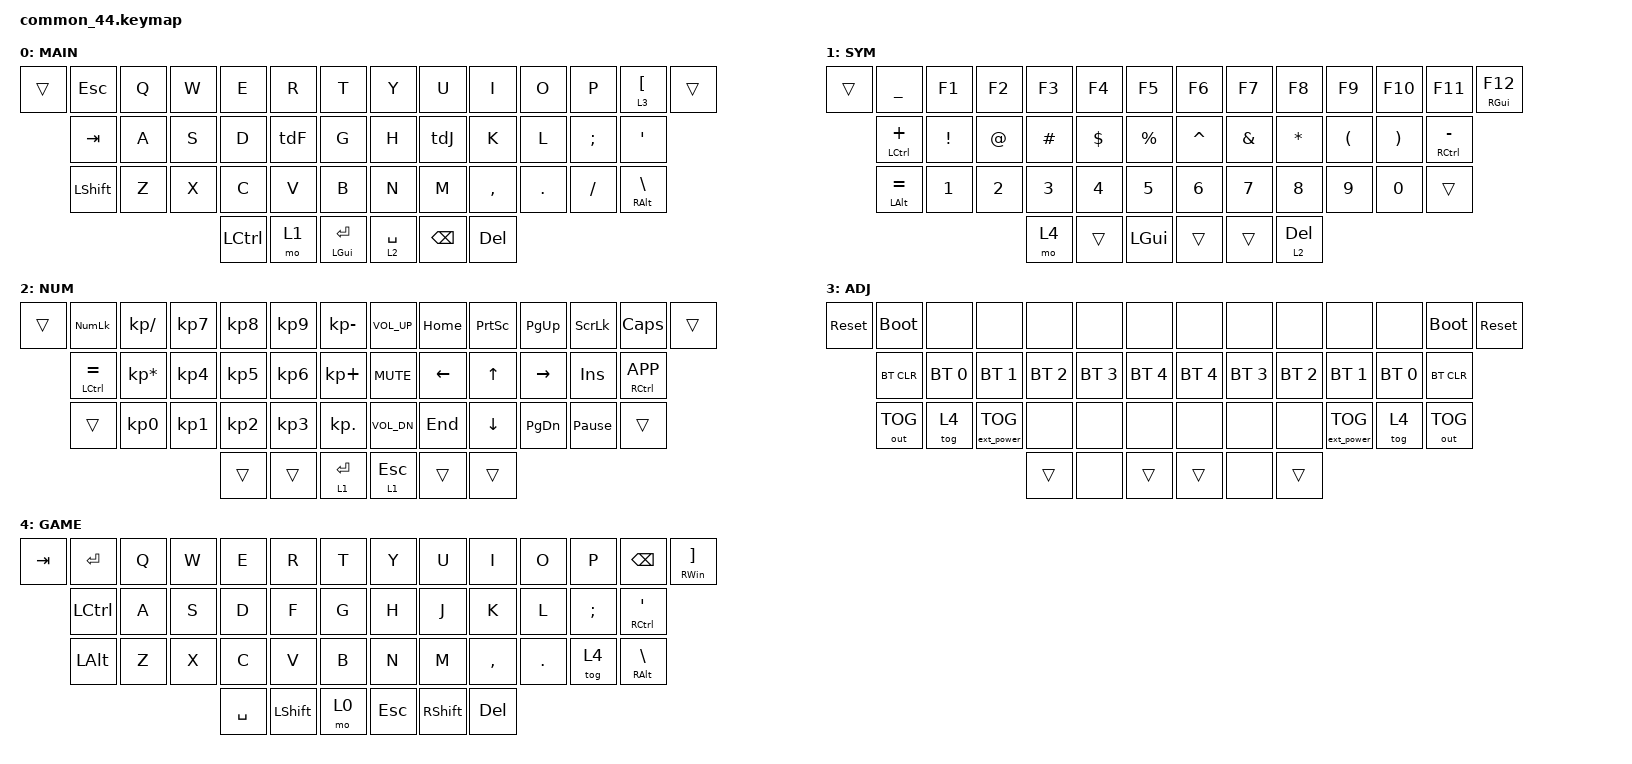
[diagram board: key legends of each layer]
/*
 * Copyright (c) 2020 The ZMK Contributors
 *
 * SPDX-License-Identifier: MIT
 */

#include <behaviors.dtsi>
#include <dt-bindings/zmk/bt.h>
#include <dt-bindings/zmk/ext_power.h>
#include <dt-bindings/zmk/keys.h>
#include <dt-bindings/zmk/outputs.h>

#define DEF 0
#define LWR 1
#define lower_layer LWR
#define RSE 2
#define raise_layer RSE
#define ADJ 3
#define adjust_layer ADJ
#define GME 4
#define GLR 5

&lt { quick-tap-ms = <200>; };

&mt { quick-tap-ms = <200>; };

/ {
    combos {
        compatible = "zmk,combos";

        ParaLeft {
            bindings = <&kp LEFT_PARENTHESIS>;
            key-positions = <6 5>;
        };

        ParaRight {
            bindings = <&kp RIGHT_PARENTHESIS>;
            key-positions = <7 8>;
        };

        BrakLeft {
            bindings = <&kp LEFT_BRACKET>;
            key-positions = <18 19>;
        };

        BrakRight {
            bindings = <&kp RIGHT_BRACKET>;
            key-positions = <20 21>;
        };

        BraceLeft {
            bindings = <&kp LEFT_BRACE>;
            key-positions = <30 31>;
        };

        BraceRight {
            bindings = <&kp RIGHT_BRACE>;
            key-positions = <32 33>;
        };

        DoubleQuote {
            bindings = <&kp DOUBLE_QUOTES>;
            key-positions = <18 17>;
        };

        SingleQuote {
            bindings = <&kp SINGLE_QUOTE>;
            key-positions = <21 22>;
        };

        TildaSign {
            bindings = <&kp TILDE>;
            key-positions = <14 1>;
        };

        GraveSigh {
            bindings = <&kp GRAVE>;
            key-positions = <26 14>;
        };

        MinusSign {
            bindings = <&kp MINUS>;
            key-positions = <4 5>;
        };

        PlusSign {
            bindings = <&kp PLUS>;
            key-positions = <4 3>;
        };

        UnderscoreSign {
            bindings = <&kp UNDERSCORE>;
            key-positions = <8 9>;
        };

        PipeSign {
            bindings = <&kp PIPE>;
            key-positions = <10 9>;
        };

        Mainbootleft {
            bindings = <&bootloader>;
            key-positions = <1 5>;
        };

        Mainbootright {
            bindings = <&bootloader>;
            key-positions = <8 12>;
        };
    };

    macros {
        lang: lang {
            compatible = "zmk,behavior-macro";
            #binding-cells = <0>;
            bindings =
                <&macro_press>,
                <&kp LCTRL>,
                <&macro_tap>,
                <&kp SPACE>,
                <&macro_release>,
                <&kp LCTRL>;

            label = "LANG";
        };
    };

    behaviors {
        LT2Lang: LT2Lang {
            compatible = "zmk,behavior-hold-tap";
            label = "LT2LANG";
            bindings = <&lt>, <&lang>;

            #binding-cells = <2>;
            tapping-term-ms = <150>;
            flavor = "balanced";
            hold-trigger-key-positions = <38>;
        };

        lt2esclang: lt2esclang {
            compatible = "zmk,behavior-tap-dance";
            label = "LT2ESCLANG";
            #binding-cells = <0>;
            bindings = <&lt 2 ESCAPE>, <&lang>;
        };

        tdJ: tap_dance_lang2 {
            compatible = "zmk,behavior-tap-dance";
            #binding-cells = <0>;
            bindings = <&kp J>, <&kp LG(F12)>;

            tapping-term-ms = <100>;
        };

        tdF: tap_dance_lang1 {
            compatible = "zmk,behavior-tap-dance";
            #binding-cells = <0>;
            bindings = <&kp F>, <&kp LG(F11)>;

            tapping-term-ms = <100>;
        };
    };

    keymap {
        compatible = "zmk,keymap";

        default_layer {
            label = "MAIN";

            // -----------------------------------------------------------------------------------------
            // |  GUI |   ~  |  Q  |  W  |  E  |  R  |  T  |   |  Y  |  U   |  I  |  O  |  P  |  [   | GUI/] |
            //        | CTRL |  A  |  S  |  D  |  F  |  G  |   |  H  |  J   |  K  |  L  |  ;  |CTRL/'|
            //        | LALT |  Z  |  X  |  C  |  V  |  B  |   |  N  |  M   |  ,  |  .  |  /  | RALT |
            //                           | RSE | SPC | LWR |   | LWR | BKSP | RSE |

            bindings = <
&trans  &kp ESC     &kp Q  &kp W  &kp E      &kp R  &kp T           &kp Y        &kp U          &kp I      &kp O    &kp P     &lt 3 LEFT_BRACKET  &trans
        &kp TAB     &kp A  &kp S  &kp D      &tdF   &kp G           &kp H        &tdJ           &kp K      &kp L    &kp SEMI  &kp SQT
        &kp LSHIFT  &kp Z  &kp X  &kp C      &kp V  &kp B           &kp N        &kp M          &kp COMMA  &kp DOT  &kp FSLH  &mt RALT BSLH
                                  &kp LCTRL  &mo 1  &mt LGUI RET    &lt 2 SPACE  &kp BACKSPACE  &kp DEL
            >;
        };

        lower_layer {
            label = "SYM";

            // -----------------------------------------------------------------------------------------
            // |     |  _  |  F1 |  F2 |  F3 |  F4 |  F5 |   |  F6 |  F7 |  F8 |  F9 | F10 | F11 | F12 |
            //       |  +  |  !  |  @  |  #  |  $  |  %  |   |  ^  |  &  |  *  |  (  |  )  |  -  |
            //       |  =  |  1  |  2  |  3  |  4  |  5  |   |  6  |  7  |  8  |  9  |  0  |     |
            //                    | GUI |     | SPC |   | ENT |     | ALT |

            bindings = <
&trans  &kp UNDER       &kp F1    &kp F2  &kp F3    &kp F4    &kp F5       &kp F6     &kp F7    &kp F8     &kp F9    &kp F10   &kp F11          &mt RGUI F12
        &mt LCTRL PLUS  &kp EXCL  &kp AT  &kp HASH  &kp DLLR  &kp PRCNT    &kp CARET  &kp AMPS  &kp STAR   &kp LPAR  &kp RPAR  &mt RCTRL MINUS
        &mt LALT EQUAL  &kp N1    &kp N2  &kp N3    &kp N4    &kp N5       &kp N6     &kp N7    &kp N8     &kp N9    &kp N0    &trans
                                          &mo 4     &trans    &kp LGUI     &trans     &trans    &lt 2 DEL
            >;
        };

        raise_layer {
            label = "NUM";

            // -----------------------------------------------------------------------------------------
            // |     | NMLK |  /  |  7  |  8  |  9  |  -  |   | VOLU| HOME| PRSC| PGUP| SCLK| CLCK|     |
            //       | CTRL |  *  |  4  |  5  |  6  |  +  |   | MUT | LEFT|  UP | RGHT| INS | APP |
            //       |      |  0  |  1  |  2  |  3  |  .  |   | VOLD| END | DOWN| PGDN| PAUS|     |
            //                          |     |     | ADJ |   | ADJ |     |     |

            bindings = <
&trans  &kp KP_NUM       &kp KP_SLASH     &kp KP_N7  &kp KP_N8  &kp KP_N9  &kp KP_MINUS    &kp C_VOL_UP  &kp HOME  &kp PSCRN  &kp PG_UP  &kp SLCK         &kp CAPS         &trans
        &mt LCTRL EQUAL  &kp KP_MULTIPLY  &kp KP_N4  &kp KP_N5  &kp KP_N6  &kp KP_PLUS     &kp C_MUTE    &kp LEFT  &kp UP     &kp RIGHT  &kp INS          &mt RCTRL K_APP
        &trans           &kp KP_N0        &kp KP_N1  &kp KP_N2  &kp KP_N3  &kp KP_DOT      &kp C_VOL_DN  &kp END   &kp DOWN   &kp PG_DN  &kp PAUSE_BREAK  &trans
                                                     &trans     &trans     &lt 1 RET       &lt 1 ESC     &trans    &trans
            >;
        };

        adjust_layer {
            label = "ADJ";

            // -----------------------------------------------------------------------------------------
            // | RST | BLDR |     |     |     |     |     |   |     |     |     |     |     | BLDR | RST |
            //       | BTCLR| BT0 | BT1 | BT2 | BT3 | BT4 |   | BT4 | BT3 | BT2 | BT1 | BT0 | BTCLR|
            //       |      |     |     |     |     |     |   |     |     |     |     |     |      |
            //                          |     |     |     |   |     |     |     |

            bindings = <
&sys_reset  &bootloader   &none         &none              &none         &none         &none           &none         &none         &none         &none              &none         &bootloader   &sys_reset
            &bt BT_CLR    &bt BT_SEL 0  &bt BT_SEL 1       &bt BT_SEL 2  &bt BT_SEL 3  &bt BT_SEL 4    &bt BT_SEL 4  &bt BT_SEL 3  &bt BT_SEL 2  &bt BT_SEL 1       &bt BT_SEL 0  &bt BT_CLR
            &out OUT_TOG  &tog 4        &ext_power EP_TOG  &none         &none         &none           &none         &none         &none         &ext_power EP_TOG  &tog 4        &out OUT_TOG
                                                           &trans        &none         &trans          &trans        &none         &trans
            >;
        };

        gaming_layer {
            label = "GAME";

            // -----------------------------------------------------------------------------------------
            // |  GUI |   ~  |  Q  |  W  |  E  |  R  |  T  |   |  Y  |  U   |  I  |  O  |  P  |  [   | GUI/] |
            //        | CTRL |  A  |  S  |  D  |  F  |  G  |   |  H  |  J   |  K  |  L  |  ;  |CTRL/'|
            //        | LALT |  Z  |  X  |  C  |  V  |  B  |   |  N  |  M   |  ,  |  .  |  /  | RALT |
            //                           | RSE | SPC | LWR |   | LWR | BKSP | RSE |

            bindings = <
&kp TAB  &kp RET    &kp Q  &kp W  &kp E      &kp R      &kp T    &kp Y    &kp U      &kp I      &kp O    &kp P     &kp BSPC       &mt RWIN RBKT
         &kp LCTRL  &kp A  &kp S  &kp D      &kp F      &kp G    &kp H    &kp J      &kp K      &kp L    &kp SEMI  &mt RCTRL SQT
         &kp LALT   &kp Z  &kp X  &kp C      &kp V      &kp B    &kp N    &kp M      &kp COMMA  &kp DOT  &tog 4    &mt RALT BSLH
                                  &kp SPACE  &kp LSHFT  &mo 0    &kp ESC  &kp RSHFT  &kp DEL
            >;
        };
    };

    conditional_layers {
        compatible = "zmk,conditional-layers";

        adj {
            if-layers = <1 2>;
            then-layer = <3>;
        };
    };
};
